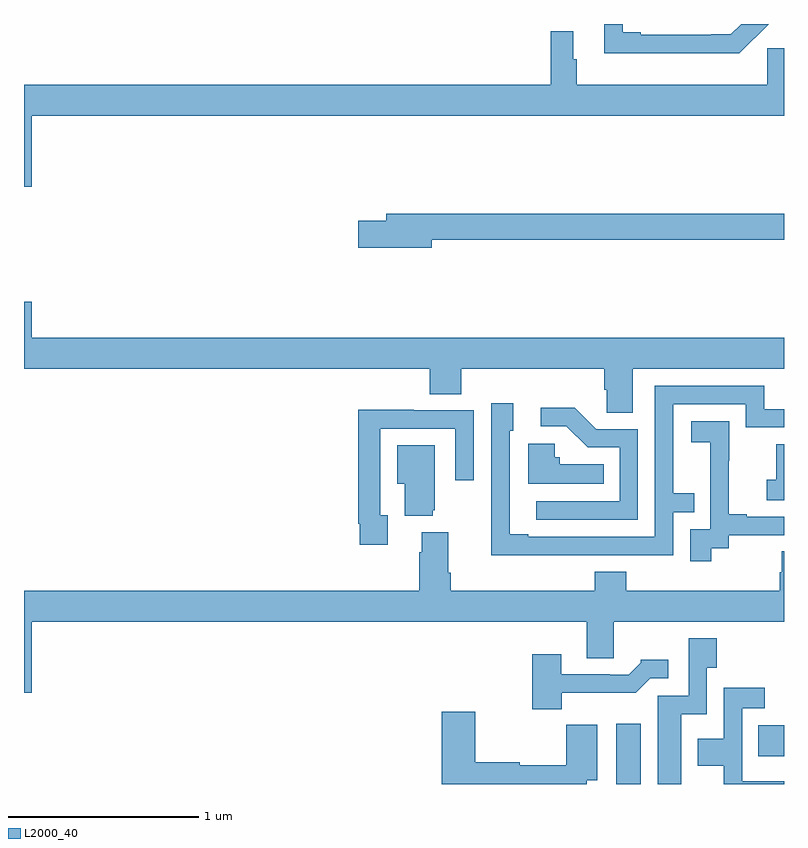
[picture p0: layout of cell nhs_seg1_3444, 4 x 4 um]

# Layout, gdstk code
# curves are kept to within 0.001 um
import gdstk
lib = gdstk.Library(unit=1e-6, precision=1e-09)
def R(c, l, rs):  # rectangles x0, y0, x1, y1
    for r in rs: c.add(gdstk.rectangle(r[:2], r[2:], *l))
def P(c, l, *ps):  # polygons
    for p in ps: c.add(gdstk.Polygon(p, *l))
L2000_40 = (2000, 40)

nhs_seg1_3444 = lib.new_cell('nhs_seg1_3444')
R(nhs_seg1_3444, L2000_40, [(300.116,564.199,300.247,564.517), (300.865,564.344,301,564.508)])
P(nhs_seg1_3444, L2000_40, [(300.92,568.199),(300.776,568.199),(300.721,568.144),(300.617,568.143),(300.247,568.143),(300.247,568.156),(300.151,568.156),(300.151,568.199),(300.053,568.199),(300.053,568.046),(300.565,568.046),(300.565,568.044),(300.764,568.044)],
  [(297.04,567.716),(301,567.716),(301,568.071),(300.913,568.071),(300.913,567.88),(299.909,567.88),(299.909,568.013),(299.89,568.013),(299.89,568.162),(299.773,568.162),(299.773,567.88),(297,567.88),(297,567.342),(297.04,567.342)],
  [(299.146,567.064),(301,567.064),(301,567.2),(298.907,567.2),(298.907,567.164),(298.758,567.164),(298.758,567.022),(299.146,567.022)],
  [(300.205,566.384),(301,566.384),(301,566.548),(297.04,566.548),(297.04,566.737),(297,566.737),(297,566.384),(299.135,566.384),(299.135,566.251),(299.3,566.251),(299.3,566.384),(300.053,566.384),(300.053,566.275),(300.066,566.275),(300.066,566.152),(300.205,566.152)],
  [(299.921,565.404),(300.417,565.404),(300.417,565.629),(300.527,565.629),(300.527,565.73),(300.417,565.73),(300.417,566.199),(300.798,566.199),(300.798,566.076),(301,566.076),(301,566.172),(300.895,566.172),(300.895,566.295),(300.321,566.295),(300.321,565.5),(299.653,565.5),(299.653,565.513),(299.557,565.513),(299.557,565.706),(299.556,565.706),(299.556,566.058),(299.575,566.058),(299.575,566.203),(299.46,566.203),(299.46,565.709),(299.458,565.709),(299.458,565.403),(299.921,565.403)],
  [(300.231,566.067),(300.012,566.067),(299.899,566.18),(299.721,566.18),(299.721,566.082),(299.855,566.082),(299.966,565.971),(300.135,565.971),(300.135,565.686),(299.697,565.686),(299.697,565.59),(300.231,565.59)],
  [(298.915,565.614),(298.875,565.614),(298.875,566.07),(299.271,566.07),(299.271,565.797),(299.367,565.797),(299.367,566.166),(299.051,566.166),(299.051,566.168),(298.759,566.168),(298.759,565.57),(298.767,565.57),(298.767,565.458),(298.915,565.458)],
  [(300.616,565.441),(300.708,565.441),(300.708,565.509),(301,565.509),(301,565.605),(300.805,565.605),(300.805,565.618),(300.71,565.618),(300.71,565.901),(300.711,565.901),(300.711,566.107),(300.513,566.107),(300.513,565.997),(300.611,565.997),(300.611,565.769),(300.612,565.769),(300.612,565.539),(300.507,565.539),(300.507,565.371),(300.616,565.371)],
  [(300.05,565.882),(299.82,565.882),(299.82,565.92),(299.793,565.92),(299.793,565.99),(299.654,565.99),(299.654,565.778),(300.05,565.778)],
  [(301,565.986),(300.958,565.986),(300.958,565.801),(300.909,565.801),(300.909,565.692),(301,565.692)],
  [(299.15,565.641),(299.161,565.641),(299.161,565.981),(298.964,565.981),(298.964,565.778),(299.003,565.778),(299.003,565.61),(299.15,565.61)],
  [(297.04,565.052),(299.963,565.052),(299.963,564.862),(300.103,564.862),(300.103,565.052),(301,565.052),(301,565.424),(300.989,565.424),(300.989,565.314),(300.977,565.314),(300.977,565.216),(300.17,565.216),(300.17,565.315),(300.005,565.315),(300.005,565.216),(299.246,565.216),(299.246,565.312),(299.233,565.312),(299.233,565.525),(299.093,565.525),(299.093,565.418),(299.081,565.418),(299.081,565.216),(297,565.216),(297,564.678),(297.04,564.678)],
  [(300.46,564.566),(300.594,564.566),(300.594,564.811),(300.647,564.811),(300.647,564.967),(300.498,564.967),(300.498,564.663),(300.335,564.663),(300.335,564.199),(300.46,564.199)],
  [(299.83,564.678),(300.219,564.678),(300.297,564.756),(300.391,564.756),(300.391,564.853),(300.246,564.853),(300.246,564.838),(300.182,564.774),(300.083,564.774),(300.083,564.777),(299.827,564.777),(299.827,564.883),(299.675,564.883),(299.675,564.593),(299.83,564.593)],
  [(301,564.214),(300.78,564.214),(300.78,564.597),(300.898,564.597),(300.898,564.706),(300.684,564.706),(300.684,564.436),(300.545,564.436),(300.545,564.296),(300.682,564.296),(300.682,564.199),(301,564.199)],
  [(299.961,564.218),(300.016,564.218),(300.016,564.511),(299.854,564.511),(299.854,564.299),(299.61,564.299),(299.61,564.314),(299.376,564.314),(299.376,564.58),(299.198,564.58),(299.198,564.199),(299.961,564.199)])

lib.write_gds('nhs_seg1_3444.gds')
